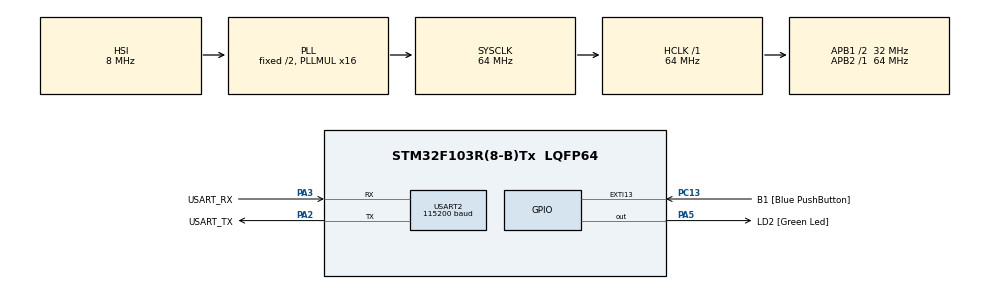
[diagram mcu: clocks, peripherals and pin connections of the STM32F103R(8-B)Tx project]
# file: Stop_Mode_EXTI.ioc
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Mcu.Family=STM32F1
Mcu.Name=STM32F103R(8-B)Tx
Mcu.Package=LQFP64
NVIC.EXTI15_10_IRQn=true\:1\:0\:false\:false\:true\:true\:true\:true
NVIC.PriorityGroup=NVIC_PRIORITYGROUP_4
PA13.GPIO_Label=TMS
PA13.Mode=Serial_Wire
PA13.Signal=SYS_JTMS-SWDIO
PA14.GPIO_Label=TCK
PA14.Mode=Serial_Wire
PA14.Signal=SYS_JTCK-SWCLK
PA2.GPIO_Label=USART_TX
PA2.GPIO_Mode=GPIO_MODE_AF_PP
PA2.GPIO_PuPd=GPIO_NOPULL
PA2.GPIO_Speed=GPIO_SPEED_FREQ_LOW
PA2.Mode=Asynchronous
PA2.Signal=USART2_TX
PA3.GPIO_Label=USART_RX
PA3.GPIO_PuPd=GPIO_NOPULL
PA3.GPIO_Speed=GPIO_SPEED_FREQ_LOW
PA3.Mode=Asynchronous
PA3.Signal=USART2_RX
PA5.GPIO_Label=LD2 [Green Led]
PA5.GPIO_ModeDefaultOutputPP=GPIO_MODE_OUTPUT_PP
PA5.GPIO_PuPd=GPIO_NOPULL
PA5.GPIO_Speed=GPIO_SPEED_FREQ_LOW
PA5.Signal=GPIO_Output
PB3.GPIO_Label=SWO
PB3.Signal=SYS_JTDO-TRACESWO
PC13-TAMPER-RTC.GPIO_Label=B1 [Blue PushButton]
PC13-TAMPER-RTC.GPIO_ModeDefaultEXTI=GPIO_MODE_IT_FALLING
PC13-TAMPER-RTC.GPIO_PuPd=GPIO_NOPULL
PC13-TAMPER-RTC.Signal=GPXTI13
PC14-OSC32_IN.Mode=LSE-External-Oscillator
PC14-OSC32_IN.Signal=RCC_OSC32_IN
PC15-OSC32_OUT.Mode=LSE-External-Oscillator
PC15-OSC32_OUT.Signal=RCC_OSC32_OUT
PD0-OSC_IN.Mode=HSE-External-Clock-Source
PD0-OSC_IN.Signal=RCC_OSC_IN
PD1-OSC_OUT.Mode=HSE-External-Clock-Source
PD1-OSC_OUT.Signal=RCC_OSC_OUT
ProjectManager.HeapSize=0x200
ProjectManager.StackSize=0x400
ProjectManager.TargetToolchain=STM32CubeIDE
RCC.AHBFreq_Value=64000000
RCC.APB1CLKDivider=RCC_HCLK_DIV2
RCC.APB1Freq_Value=32000000
RCC.APB1TimFreq_Value=64000000
RCC.APB2Freq_Value=64000000
RCC.APB2TimFreq_Value=64000000
RCC.HCLKFreq_Value=64000000
RCC.PLLMUL=RCC_PLL_MUL16
RCC.RTCClockSelection=RCC_RTCCLKSOURCE_LSE
RCC.SYSCLKFreq_VALUE=64000000
RCC.SYSCLKSource=RCC_SYSCLKSOURCE_PLLCLK
RCC.USBFreq_Value=64000000
USART2.BaudRate=115200
USART2.VirtualMode=VM_ASYNC
board=NUCLEO-F103RB

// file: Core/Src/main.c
/* USER CODE BEGIN Header */
/**
 ******************************************************************************
 * @file           : main.c
 * @brief          : Main program body
 ******************************************************************************
 * @attention
 *
 * Copyright (c) 2026 STMicroelectronics.
 * All rights reserved.
 *
 * This software is licensed under terms that can be found in the LICENSE file
 * in the root directory of this software component.
 * If no LICENSE file comes with this software, it is provided AS-IS.
 *
 ******************************************************************************
 */
/**
 * 04_Stop_Mode_EXTI_HAL_c  —  [계층: HAL]  Stop 모드 진입과 EXTI(버튼) 웨이크업
 *
 * 동작
 *   1) 부팅 후 LD2 를 켜고 3초간 "실행 중" 메시지 출력
 *   2) LD2 를 끄고 Stop 모드 진입 (고속 클럭/PLL 정지, SRAM·레지스터 값 유지, 전류 수 uA 수준)
 *   3) B1(PC13) 을 누르면 EXTI13 하강 에지로 깨어남 -> 클럭 재설정 -> "wake" 메시지 -> 1로 돌아가 반복
 *
 * Stop 모드 핵심 (RM0008 5장)
 *   PWR->CR.PDDS = 0, SCB->SCR.SLEEPDEEP = 1 후 WFI  ->  HAL_PWR_EnterSTOPMode() 가 수행
 *   PWR->CR.LPDS = 1 : 전압 레귤레이터를 저전력으로 (전류 더 감소, 웨이크업이 조금 느림)
 *   웨이크업 원인: 임의의 EXTI 라인(0~15), RTC 알람(EXTI17), USB 웨이크업 등
 *   *** 깨어난 직후 시스템 클럭은 HSI 8MHz 로 되돌아가 있다 -> SystemClock_Config() 를 다시 호출해야 PLL 64MHz 복구 ***
 *   Stop 중에는 SysTick 도 정지하지만, 진입 전에 HAL_SuspendTick() 으로 SysTick 인터럽트를 꺼 두지 않으면
 *   진입 직후 SysTick 인터럽트에 바로 깨어난다.
 *
 * ISR vs 콜백
 *   EXTI15_10_IRQHandler (stm32f1xx_it.c, 진짜 ISR) -> HAL_GPIO_EXTI_IRQHandler(GPIO_PIN_13)
 *     -> HAL_GPIO_EXTI_Callback() (이 파일) : 웨이크업 원인 표시용 플래그만 설정
 *
 * 디버깅 주의: Stop 중 디버거 유지는 DBGMCU_CR.DBG_STOP=1 (아래에서 설정). 전류 측정 시에는 디버거를 뽑고 잰다.
 */
/* USER CODE END Header */
#include "main.h"

/* USER CODE BEGIN Includes */
#include <stdio.h>
#include <string.h>
/* USER CODE END Includes */

UART_HandleTypeDef huart2;

/* USER CODE BEGIN PV */
static volatile uint8_t woke_by_button;
/* USER CODE END PV */

void SystemClock_Config(void);
static void MX_GPIO_Init(void);
static void MX_USART2_UART_Init(void);

/* USER CODE BEGIN 0 */
static void print(const char *s) { HAL_UART_Transmit(&huart2, (uint8_t *)s, (uint16_t)strlen(s), 100); }
/* USER CODE END 0 */

int main(void)
{

  /* MCU Configuration--------------------------------------------------------*/

  /* Reset of all peripherals, Initializes the Flash interface and the Systick. */
  HAL_Init();

  /* Configure the system clock */
  SystemClock_Config();

  /* Initialize all configured peripherals */
  MX_GPIO_Init();
  MX_USART2_UART_Init();
  /* USER CODE BEGIN 2 */
  HAL_DBGMCU_EnableDBGStopMode();                   /* DBGMCU->CR.DBG_STOP = 1 */
  print("\r\n[Stop mode demo] press B1 to wake\r\n");
  /* USER CODE END 2 */

  /* Infinite loop */
  while (1)
  {

    /* USER CODE BEGIN 3 */
    /* 1) 실행 구간 */
    HAL_GPIO_WritePin(LD2_GPIO_Port, LD2_Pin, GPIO_PIN_SET);
    for (int s = 1; s <= 3; s++)
    {
      char m[40];
      int n = snprintf(m, sizeof m, "running... %d\r\n", s);
      HAL_UART_Transmit(&huart2, (uint8_t *)m, (uint16_t)n, 100);
      HAL_Delay(1000);
    }

    /* 2) Stop 진입 준비 */
    print("entering STOP (SYSCLK/PLL off)\r\n");    /* HAL_UART_Transmit 은 TC(전송 완료)까지 기다린다 */
    HAL_GPIO_WritePin(LD2_GPIO_Port, LD2_Pin, GPIO_PIN_RESET);
    woke_by_button = 0;
    __HAL_GPIO_EXTI_CLEAR_IT(B1_Pin);             /* 남은 EXTI 펜딩 제거 (EXTI->PR bit13) */

    HAL_SuspendTick();                            /* SysTick 인터럽트 끄기 (SysTick->CTRL.TICKINT = 0) */
    HAL_PWR_EnterSTOPMode(PWR_LOWPOWERREGULATOR_ON, PWR_STOPENTRY_WFI);   /* --- 여기서 잠든다 --- */

    /* 3) 깨어남: 클럭이 HSI 로 되돌아가 있으므로 복구 */
    SystemClock_Config();
    HAL_ResumeTick();

    print(woke_by_button ? "wake: EXTI13 (B1)\r\n" : "wake: other\r\n");
    while (HAL_GPIO_ReadPin(B1_GPIO_Port, B1_Pin) == GPIO_PIN_RESET) {}   /* 버튼 뗄 때까지 (채터링 방지) */
    HAL_Delay(50);
  }
  /* USER CODE END 3 */
}

void SystemClock_Config(void)
{
  RCC_OscInitTypeDef RCC_OscInitStruct = {0};
  RCC_ClkInitTypeDef RCC_ClkInitStruct = {0};

  /** Initializes the RCC Oscillators according to the specified parameters
  * in the RCC_OscInitTypeDef structure.
  */
  RCC_OscInitStruct.OscillatorType = RCC_OSCILLATORTYPE_HSI;
  RCC_OscInitStruct.HSIState = RCC_HSI_ON;
  RCC_OscInitStruct.HSICalibrationValue = RCC_HSICALIBRATION_DEFAULT;
  RCC_OscInitStruct.PLL.PLLState = RCC_PLL_ON;
  RCC_OscInitStruct.PLL.PLLSource = RCC_PLLSOURCE_HSI_DIV2;
  RCC_OscInitStruct.PLL.PLLMUL = RCC_PLL_MUL16;
  if (HAL_RCC_OscConfig(&RCC_OscInitStruct) != HAL_OK)
  {
    Error_Handler();
  }

  /** Initializes the CPU, AHB and APB buses clocks
  */
  RCC_ClkInitStruct.ClockType = RCC_CLOCKTYPE_HCLK|RCC_CLOCKTYPE_SYSCLK
                              |RCC_CLOCKTYPE_PCLK1|RCC_CLOCKTYPE_PCLK2;
  RCC_ClkInitStruct.SYSCLKSource = RCC_SYSCLKSOURCE_PLLCLK;
  RCC_ClkInitStruct.AHBCLKDivider = RCC_SYSCLK_DIV1;
  RCC_ClkInitStruct.APB1CLKDivider = RCC_HCLK_DIV2;
  RCC_ClkInitStruct.APB2CLKDivider = RCC_HCLK_DIV1;

  if (HAL_RCC_ClockConfig(&RCC_ClkInitStruct, FLASH_LATENCY_2) != HAL_OK)
  {
    Error_Handler();
  }
}

static void MX_USART2_UART_Init(void)
{

  huart2.Instance = USART2;
  huart2.Init.BaudRate = 115200;
  huart2.Init.WordLength = UART_WORDLENGTH_8B;
  huart2.Init.StopBits = UART_STOPBITS_1;
  huart2.Init.Parity = UART_PARITY_NONE;
  huart2.Init.Mode = UART_MODE_TX_RX;
  huart2.Init.HwFlowCtl = UART_HWCONTROL_NONE;
  huart2.Init.OverSampling = UART_OVERSAMPLING_16;
  if (HAL_UART_Init(&huart2) != HAL_OK)
  {
    Error_Handler();
  }
  /* USER CODE BEGIN USART2_Init 2 */
  /* USART2 (ST-Link 가상 COM, PA2=TX / PA3=RX) 기본 폴링 송신용. 클럭/핀 설정은 stm32f1xx_hal_msp.c 의 HAL_UART_MspInit 에 있다. */
  /* USER CODE END USART2_Init 2 */

}

static void MX_GPIO_Init(void)
{
  GPIO_InitTypeDef GPIO_InitStruct = {0};

  /* GPIO Ports Clock Enable */
  __HAL_RCC_GPIOC_CLK_ENABLE();
  __HAL_RCC_GPIOD_CLK_ENABLE();
  __HAL_RCC_GPIOA_CLK_ENABLE();
  __HAL_RCC_GPIOB_CLK_ENABLE();

  /*Configure GPIO pin Output Level */
  HAL_GPIO_WritePin(LD2_GPIO_Port, LD2_Pin, GPIO_PIN_RESET);

  /*Configure GPIO pin : B1_Pin */
  GPIO_InitStruct.Pin = B1_Pin;
  GPIO_InitStruct.Mode = GPIO_MODE_IT_FALLING;
  GPIO_InitStruct.Pull = GPIO_NOPULL;
  HAL_GPIO_Init(B1_GPIO_Port, &GPIO_InitStruct);

  /*Configure GPIO pin : LD2_Pin */
  GPIO_InitStruct.Pin = LD2_Pin;
  GPIO_InitStruct.Mode = GPIO_MODE_OUTPUT_PP;
  GPIO_InitStruct.Pull = GPIO_NOPULL;
  GPIO_InitStruct.Speed = GPIO_SPEED_FREQ_LOW;
  HAL_GPIO_Init(LD2_GPIO_Port, &GPIO_InitStruct);

  /* EXTI interrupt init*/
  HAL_NVIC_SetPriority(EXTI15_10_IRQn, 1, 0);
  HAL_NVIC_EnableIRQ(EXTI15_10_IRQn);

  /* USER CODE BEGIN MX_GPIO_Init_2 */
  /* [레지스터] B1(PC13) 하강 에지 EXTI: AFIO->EXTICR[3] = 포트 C 선택, EXTI->FTSR bit13 = 1, EXTI->IMR bit13 = 1.
   * AFIO 클럭(RCC->APB2ENR.AFIOEN)은 HAL_MspInit 에서 켜진다. NVIC: EXTI15_10_IRQn (우선순위 1) */
  /* USER CODE END MX_GPIO_Init_2 */
}

/* USER CODE BEGIN 4 */
/* ------------------------------------------------------------------------- */
/* HAL 콜백 (ISR 아님): EXTI 라인 인터럽트 처리 후 HAL 이 호출                    */
/* ------------------------------------------------------------------------- */
void HAL_GPIO_EXTI_Callback(uint16_t GPIO_Pin)
{
  if (GPIO_Pin == B1_Pin) woke_by_button = 1;
}
/* USER CODE END 4 */

void Error_Handler(void)
{
  __disable_irq();
  while (1) {
  }
}
#ifdef USE_FULL_ASSERT
/**
  * @brief  Reports the name of the source file and the source line number
  *         where the assert_param error has occurred.
  * @param  file: pointer to the source file name
  * @param  line: assert_param error line source number
  * @retval None
  */
void assert_failed(uint8_t *file, uint32_t line)
{
  /* USER CODE BEGIN 6 */
  /* User can add his own implementation to report the file name and line
     number, ex: printf("Wrong parameters value: file %s on line %d\r\n", file,
     line) */
  /* USER CODE END 6 */
}
#endif /* USE_FULL_ASSERT */
